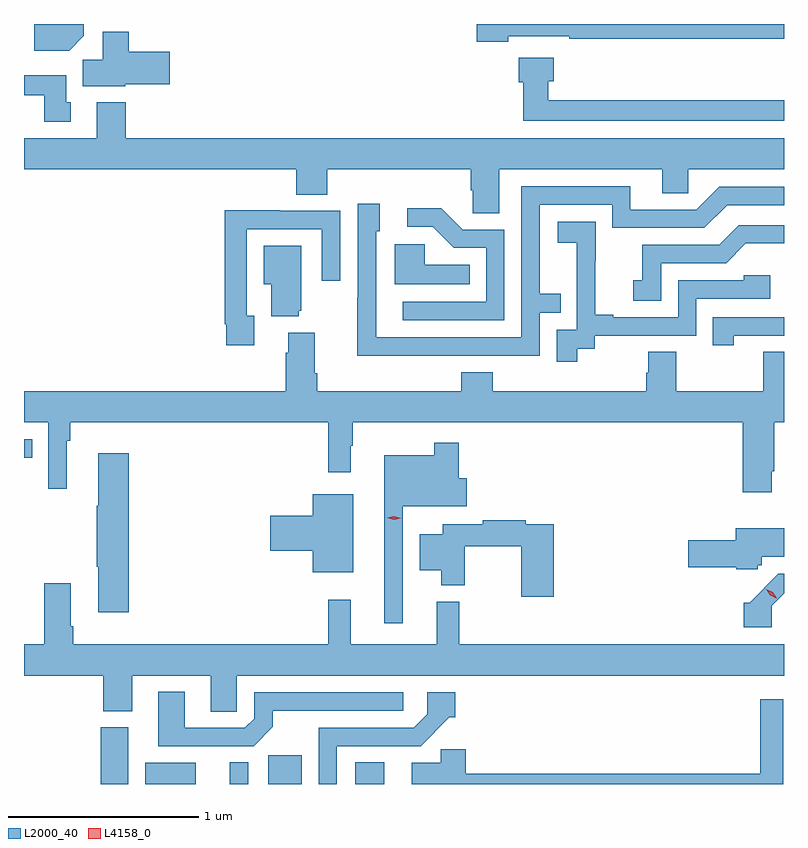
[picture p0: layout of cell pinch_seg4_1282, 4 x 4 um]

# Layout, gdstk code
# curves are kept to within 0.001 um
import gdstk
lib = gdstk.Library(unit=1e-6, precision=1e-09)
def R(c, l, rs):  # rectangles x0, y0, x1, y1
    for r in rs: c.add(gdstk.rectangle(r[:2], r[2:], *l))
def P(c, l, *ps):  # polygons
    for p in ps: c.add(gdstk.Polygon(p, *l))
L2000_40 = (2000, 40)
L4158_0 = (4158, 0)

pinch_seg4_1282 = lib.new_cell('pinch_seg4_1282')
R(pinch_seg4_1282, L2000_40, [(335.402,776.269,335.548,776.568), (335.636,776.269,335.902,776.38), (336.083,776.269,336.18,776.384), (336.284,776.269,336.46,776.42), (336.743,776.269,336.895,776.384), (334.999,777.987,335.042,778.083)])
P(pinch_seg4_1282, L2000_40, [(335.314,780.206),(335.314,780.269),(335.053,780.269),(335.053,780.128),(335.236,780.128)],
  [(337.548,780.204),(337.87,780.204),(337.87,780.192),(338.999,780.192),(338.999,780.269),(337.382,780.269),(337.382,780.176),(337.548,780.176)],
  [(335.532,779.951),(335.767,779.951),(335.767,780.122),(335.549,780.122),(335.549,780.229),(335.414,780.229),(335.414,780.08),(335.309,780.08),(335.309,779.942),(335.532,779.942)],
  [(338.999,779.869),(337.759,779.869),(337.759,779.969),(337.787,779.969),(337.787,780.091),(337.604,780.091),(337.604,779.962),(337.627,779.962),(337.627,779.76),(338.999,779.76)],
  [(335.245,779.856),(335.221,779.856),(335.221,779.998),(334.999,779.998),(334.999,779.894),(335.105,779.894),(335.105,779.754),(335.245,779.754)],
  [(337.501,779.504),(338.357,779.504),(338.357,779.377),(338.496,779.377),(338.496,779.504),(338.999,779.504),(338.999,779.668),(335.534,779.668),(335.534,779.857),(335.381,779.857),(335.381,779.668),(334.999,779.668),(334.999,779.504),(336.431,779.504),(336.431,779.371),(336.596,779.371),(336.596,779.504),(337.349,779.504),(337.349,779.395),(337.362,779.395),(337.362,779.272),(337.501,779.272)],
  [(337.217,778.524),(337.713,778.524),(337.713,778.749),(337.823,778.749),(337.823,778.85),(337.713,778.85),(337.713,779.319),(338.094,779.319),(338.094,779.196),(338.58,779.196),(338.7,779.316),(338.999,779.316),(338.999,779.412),(338.658,779.412),(338.538,779.292),(338.191,779.292),(338.191,779.415),(337.617,779.415),(337.617,778.62),(336.853,778.62),(336.852,779.178),(336.871,779.178),(336.871,779.323),(336.756,779.323),(336.756,778.829),(336.754,778.829),(336.754,778.523)],
  [(337.527,779.187),(337.308,779.187),(337.195,779.3),(337.017,779.3),(337.017,779.202),(337.151,779.202),(337.262,779.091),(337.431,779.091),(337.431,778.806),(336.993,778.806),(336.993,778.71),(337.527,778.71)],
  [(336.211,778.734),(336.171,778.734),(336.171,779.19),(336.567,779.19),(336.567,778.917),(336.663,778.917),(336.663,779.286),(336.347,779.286),(336.347,779.288),(336.055,779.288),(336.055,778.69),(336.063,778.69),(336.063,778.578),(336.211,778.578)],
  [(337.912,778.561),(338.004,778.561),(338.004,778.629),(338.538,778.629),(338.538,778.824),(338.927,778.824),(338.927,778.947),(338.787,778.947),(338.787,778.92),(338.442,778.92),(338.442,778.725),(338.101,778.725),(338.101,778.738),(338.006,778.738),(338.006,779.021),(338.007,779.021),(338.007,779.227),(337.809,779.227),(337.809,779.117),(337.907,779.117),(337.907,778.889),(337.908,778.889),(337.908,778.659),(337.803,778.659),(337.803,778.491),(337.912,778.491)],
  [(338.352,779.01),(338.694,779.01),(338.798,779.114),(338.999,779.114),(338.999,779.211),(338.762,779.211),(338.657,779.106),(338.254,779.106),(338.254,778.921),(338.205,778.921),(338.205,778.812),(338.352,778.812)],
  [(337.346,779.002),(337.107,779.002),(337.107,779.11),(336.95,779.11),(336.95,778.898),(337.346,778.898)],
  [(336.446,778.761),(336.457,778.761),(336.457,779.101),(336.26,779.101),(336.26,778.898),(336.299,778.898),(336.299,778.73),(336.446,778.73)],
  [(338.734,778.629),(338.999,778.629),(338.999,778.725),(338.623,778.725),(338.623,778.578),(338.734,778.578)],
  [(338.935,777.916),(338.948,777.916),(338.948,778.172),(338.999,778.172),(338.999,778.544),(338.89,778.544),(338.89,778.336),(338.433,778.336),(338.433,778.544),(338.285,778.544),(338.285,778.434),(338.273,778.434),(338.273,778.336),(337.466,778.336),(337.466,778.435),(337.301,778.435),(337.301,778.336),(336.542,778.336),(336.542,778.432),(336.529,778.432),(336.529,778.645),(336.389,778.645),(336.389,778.538),(336.377,778.538),(336.377,778.336),(334.999,778.336),(334.999,778.172),(335.127,778.172),(335.127,777.822),(335.224,777.822),(335.224,778.076),(335.243,778.076),(335.243,778.172),(336.601,778.172),(336.601,777.909),(336.718,777.909),(336.718,778.049),(336.73,778.049),(336.73,778.172),(338.783,778.172),(338.783,777.804),(338.935,777.804)],
  [(336.993,777.731),(337.33,777.731),(337.33,777.879),(337.286,777.879),(337.286,778.066),(337.158,778.066),(337.158,778),(336.896,778),(336.896,777.114),(336.993,777.114)],
  [(335.549,778.009),(335.39,778.009),(335.39,777.734),(335.383,777.734),(335.383,777.412),(335.39,777.412),(335.39,777.174),(335.549,777.174)],
  [(336.733,777.793),(336.518,777.793),(336.518,777.68),(336.294,777.68),(336.294,777.497),(336.518,777.497),(336.518,777.383),(336.733,777.383)],
  [(337.787,777.636),(337.64,777.636),(337.64,777.656),(337.414,777.656),(337.414,777.636),(337.202,777.636),(337.202,777.583),(337.082,777.583),(337.082,777.395),(337.196,777.395),(337.196,777.314),(337.318,777.314),(337.318,777.52),(337.616,777.52),(337.616,777.255),(337.787,777.255)],
  [(338.862,777.42),(338.883,777.42),(338.883,777.464),(338.999,777.464),(338.999,777.616),(338.744,777.616),(338.744,777.551),(338.496,777.551),(338.496,777.409),(338.748,777.409),(338.748,777.399),(338.862,777.399)],
  [(338.934,777.207),(338.999,777.272),(338.999,777.375),(338.97,777.375),(338.818,777.223),(338.787,777.223),(338.787,777.093),(338.934,777.093)],
  [(336.12,776.84),(338.999,776.84),(338.999,777.004),(337.289,777.004),(337.289,777.229),(337.172,777.229),(337.172,777.004),(336.719,777.004),(336.719,777.238),(336.601,777.238),(336.601,777.004),(335.258,777.004),(335.258,777.1),(335.245,777.1),(335.245,777.325),(335.105,777.325),(335.105,777.004),(334.999,777.004),(334.999,776.84),(335.417,776.84),(335.417,776.653),(335.569,776.653),(335.569,776.84),(335.981,776.84),(335.981,776.65),(336.12,776.65)],
  [(336.309,776.571),(336.309,776.655),(336.994,776.655),(336.994,776.751),(336.21,776.751),(336.21,776.613),(336.162,776.565),(335.845,776.565),(335.845,776.755),(335.705,776.755),(335.705,776.469),(336.207,776.469)],
  [(336.645,776.469),(337.086,776.469),(337.238,776.621),(337.27,776.621),(337.27,776.751),(337.122,776.751),(337.122,776.637),(337.05,776.565),(336.549,776.565),(336.549,776.269),(336.645,776.269)],
  [(338.995,776.716),(338.874,776.716),(338.874,776.324),(337.325,776.324),(337.325,776.453),(337.192,776.453),(337.192,776.38),(337.041,776.38),(337.041,776.269),(338.995,776.269)])
P(pinch_seg4_1282, L4158_0, [(338.959,777.246),(338.926,777.263),(338.906,777.294),(338.906,777.294),(338.906,777.294),(338.94,777.278),(338.96,777.246),(338.96,777.246)],
  [(336.946,777.659),(336.912,777.671),(336.912,777.671),(336.912,777.671),(336.948,777.679),(336.982,777.667),(336.982,777.667),(336.982,777.667)])

lib.write_gds('pinch_seg4_1282.gds')
